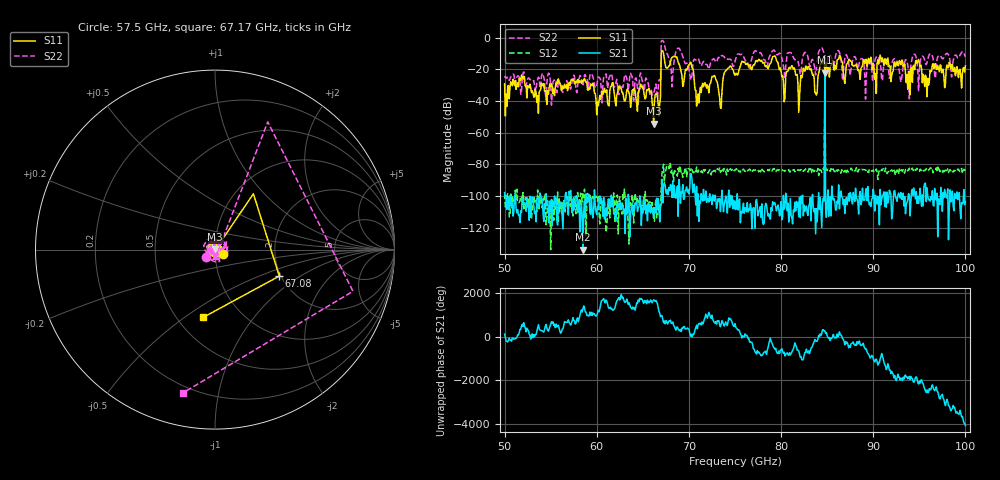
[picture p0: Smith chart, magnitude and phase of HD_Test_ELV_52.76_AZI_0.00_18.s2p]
! 11/25/2026 9:17:00 AM
! C:\ANRITSUVNA\TEMP\TEMP.S2P
! CHANNEL.1
! TR.MEASUREMENT
! RAW.DATA
# HZ S RI R 50.0
! FREQ.HZ  S11RE  S11IM  S21RE  S21IM  S12RE  S12IM  S22RE  S22IM
!; PortSelection: Port_12
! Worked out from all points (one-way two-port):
!   601 points, 50 GHz to 100 GHz, reference 50 ohm
!   highest |S21| = -22.11 dB at 84.75 GHz (marker M1); lowest = -134.0 dB at 58.5 GHz (marker M2)
!   lowest |S11| = -54.3 dB at 66.17 GHz (marker M3), VSWR 1.00, Z = 50.1 + j0.153 ohm
!   |S11| at or under -10 dB: start of sweep to 67 GHz; 67.24 GHz to end of sweep
!   |S22| runs from -42.7 to -1.8 dB; largest |S21 - S12| = 0.069
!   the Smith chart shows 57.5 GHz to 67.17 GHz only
!   S11 on the Smith chart (normalised r, x): 57.5 GHz: 1.09, -0.05; 67.08 GHz: 1.96, -0.68; 67.17 GHz: 0.67, -0.59
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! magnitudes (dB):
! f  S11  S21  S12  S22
! 50 GHz  -29.2  -97.9  -98.6  -25.3
! 57.5 GHz  -26.3  -108.8  -100.3  -23.7
! 58.42 GHz  -27.2  -113.4  -103.9  -29.0
! 58.5 GHz  -27.5  -134.0  -97.9  -30.6
! 60.17 GHz  -43.1  -108.6  -99.5  -24.8
! 61.67 GHz  -28.7  -106.7  -105.7  -24.5
! 66.17 GHz  -54.3  -114.1  -107.3  -35.4
! 66.67 GHz  -41.9  -101.6  -105.3  -32.1
! 67.08 GHz  -8.2  -89.5  -85.3  -1.9
! 67.17 GHz  -8.3  -104.4  -82.4  -1.8
! 70.17 GHz  -15.5  -85.9  -83.9  -25.7
! 70.92 GHz  -40.7  -112.7  -85.0  -13.3
! 75 GHz  -23.7  -103.3  -83.8  -15.0
! 79.25 GHz  -11.8  -104.3  -82.6  -7.9
! 80.25 GHz  -27.6  -99.7  -84.0  -17.7
! 83.42 GHz  -23.8  -99.1  -83.2  -13.8
! 84.75 GHz  -21.1  -22.1  -34.9  -11.5
! 91.67 GHz  -16.7  -102.5  -84.2  -20.5
! 93.75 GHz  -32.7  -102.3  -83.7  -17.3
! 94.83 GHz  -15.0  -100.3  -83.7  -20.3
! 95.83 GHz  -37.3  -94.9  -82.9  -15.9
! 100 GHz  -17.7  -103.5  -84.2  -12.2
